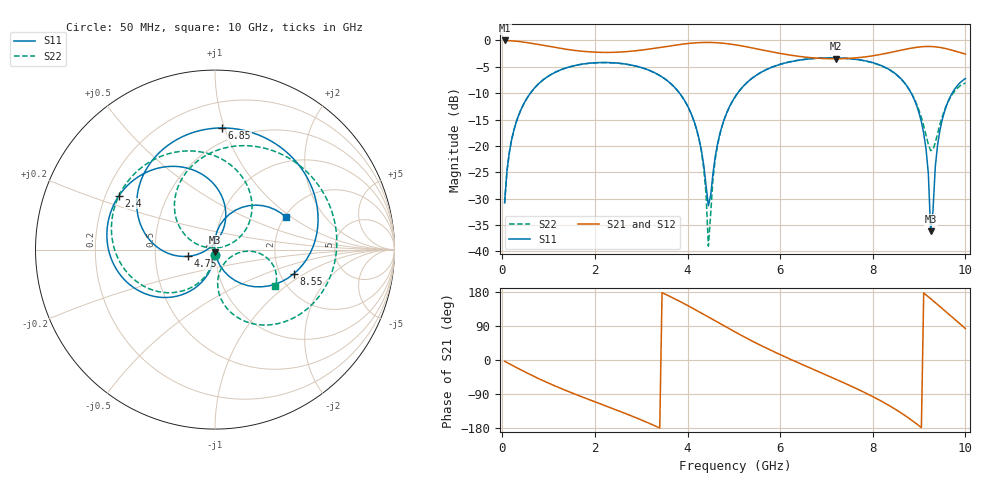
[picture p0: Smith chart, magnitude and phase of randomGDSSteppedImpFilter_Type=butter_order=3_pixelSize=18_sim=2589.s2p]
! freq	dB(S11)	phase(S11)	dB(S12)	phase(S12)
!  dB(S21)	phase(S21)	dB(S22)	phase(S22)
!S-par simulation data
#  GHz  S  DB  R 50
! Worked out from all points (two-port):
!   200 points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, 50 MHz to 10 GHz, reference 50 ohm
!   highest |S21| = -0.01 dB at 50 MHz (marker M1); lowest = -3.5 dB at 7.2 GHz (marker M2)
!   |S21| within 3 dB of the highest: start of sweep to 6.394 GHz; 7.93 GHz to end of sweep
!   lowest |S11| = -36.2 dB at 9.25 GHz (marker M3), VSWR 1.03, Z = 50 - j1.55 ohm
!   |S11| at or under -10 dB: start of sweep to 607 MHz; 3.827 GHz to 5.082 GHz (1.255 GHz wide, 28.2 % of centre); 8.829 GHz to 9.715 GHz (885.5 MHz wide, 9.55 % of centre)
!   |S22| runs from -39.0 to -3.3 dB; largest |S21 - S12| = 0
!   S11 on the Smith chart (normalised r, x): 50 MHz: 1.00, -0.06; 2.4 GHz: 0.25, +0.25; 4.75 GHz: 0.73, -0.06; 6.85 GHz: 0.39, +0.98; 8.55 GHz: 2.37, -0.81; 10 GHz: 2.04, +0.91
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0.05  -30.81 -93.3  -0.01 -3.3  -0.01 -3.3  -30.81 -93.6
0.2  -18.90 -102.8  -0.08 -13.1  -0.08 -13.1  -18.90 -104.3
0.5  -11.45 -120.7  -0.37 -32.1  -0.37 -32.1  -11.45 -124.6
1.75  -4.46 177.8  -2.07 -98.7  -2.07 -98.7  -4.47 163.9
2.4  -4.24 150.7  -2.26 -128.9  -2.26 -128.9  -4.25 130.9
3.4  -6.65 106.2  -1.35 -179.5  -1.35 -179.5  -6.66 76.1
4.2  -16.96 68.5  -0.44 130.6  -0.44 130.6  -17.06 25.0
4.35  -23.67 72.1  -0.39 120.4  -0.39 120.4  -24.26 18.8
4.45  -31.36 120.0  -0.38 113.5  -0.38 113.5  -39.00 60.6
4.75  -16.06 -166.1  -0.52 92.7  -0.52 92.7  -16.18 157.8
5.05  -10.39 180.0  -0.86 72.3  -0.86 72.3  -10.41 137.7
5.8  -5.15 139.8  -2.14 25.7  -2.14 25.7  -5.14 88.8
6.7  -3.45 94.2  -3.30 -23.8  -3.30 -23.8  -3.43 37.4
6.85  -3.36 86.6  -3.39 -31.8  -3.39 -31.8  -3.34 29.4
7.2  -3.31 68.5  -3.48 -50.6  -3.48 -50.6  -3.30 10.8
8.35  -5.48 -1.8  -2.35 -120.0  -2.35 -120.0  -5.54 -52.2
8.55  -6.76 -17.2  -1.97 -134.8  -1.97 -134.8  -6.81 -64.0
9.05  -15.45 -62.1  -1.20 -178.3  -1.20 -178.3  -14.62 -85.5
9.2  -25.23 -78.2  -1.14 166.9  -1.14 166.9  -19.70 -67.9
9.25  -36.20 -88.2  -1.15 161.8  -1.15 161.8  -20.88 -51.3
9.5  -15.02 73.0  -1.41 135.8  -1.41 135.8  -14.45 -2.5
10  -7.23 24.5  -2.58 83.1  -2.58 83.1  -8.09 -31.4
